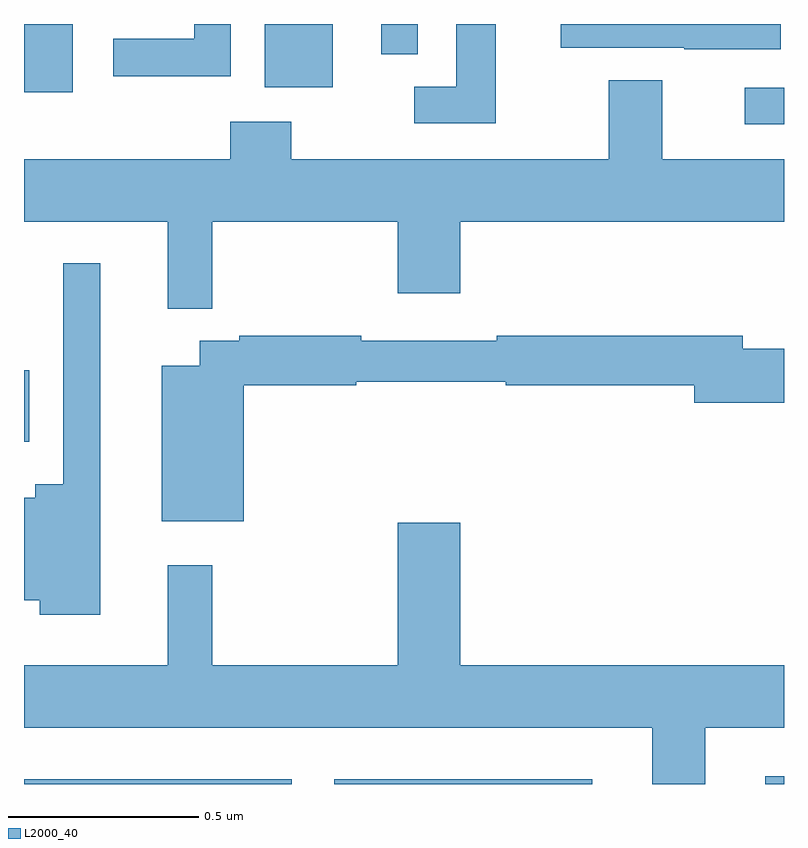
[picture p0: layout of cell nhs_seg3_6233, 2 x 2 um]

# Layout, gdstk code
import gdstk
lib = gdstk.Library(unit=1e-6, precision=1e-09)
def R(c, l, rs):  # rectangles x0, y0, x1, y1
    for r in rs: c.add(gdstk.rectangle(r[:2], r[2:], *l))
def P(c, l, *ps):  # polygons
    for p in ps: c.add(gdstk.Polygon(p, *l))
L2000_40 = (2000, 40)

nhs_seg3_6233 = lib.new_cell('nhs_seg3_6233')
R(nhs_seg3_6233, L2000_40, [(188,735.4,188.704,735.412), (188.817,735.4,189.496,735.412), (189.95,735.4,190,735.421), (188,736.301,188.014,736.489), (189.897,737.136,190,737.232), (188,737.22,188.128,737.4), (188.633,737.234,188.812,737.4), (188.94,737.32,189.036,737.4)])
P(nhs_seg3_6233, L2000_40, [(189.991,737.4),(189.413,737.4),(189.413,737.337),(189.737,737.337),(189.737,737.333),(189.991,737.333)],
  [(188.544,737.4),(188.448,737.4),(188.448,737.361),(188.235,737.361),(188.235,737.263),(188.544,737.263)],
  [(189.241,737.4),(189.137,737.4),(189.137,737.235),(189.027,737.235),(189.027,737.139),(189.241,737.139)],
  [(188.495,736.88),(188.984,736.88),(188.984,736.692),(189.148,736.692),(189.148,736.88),(190,736.88),(190,737.044),(189.679,737.044),(189.679,737.252),(189.539,737.252),(189.539,737.044),(188.703,737.044),(188.703,737.143),(188.543,737.143),(188.543,737.044),(188,737.044),(188,736.88),(188.378,736.88),(188.378,736.651),(188.495,736.651)],
  [(188.2,736.771),(188.103,736.771),(188.103,736.189),(188.03,736.189),(188.03,736.153),(188,736.153),(188,735.884),(188.042,735.884),(188.042,735.845),(188.2,735.845)],
  [(188.578,736.45),(188.874,736.45),(188.874,736.458),(189.268,736.458),(189.268,736.45),(189.764,736.45),(189.764,736.403),(190,736.403),(190,736.545),(189.892,736.545),(189.892,736.579),(189.244,736.579),(189.244,736.566),(188.888,736.566),(188.888,736.579),(188.566,736.579),(188.566,736.566),(188.462,736.566),(188.462,736.501),(188.363,736.501),(188.363,736.091),(188.578,736.091)],
  [(189.793,735.548),(190,735.548),(190,735.712),(189.148,735.712),(189.148,736.087),(188.984,736.087),(188.984,735.712),(188.495,735.712),(188.495,735.976),(188.378,735.976),(188.378,735.712),(188,735.712),(188,735.548),(189.653,735.548),(189.653,735.4),(189.793,735.4)])

lib.write_gds('nhs_seg3_6233.gds')
